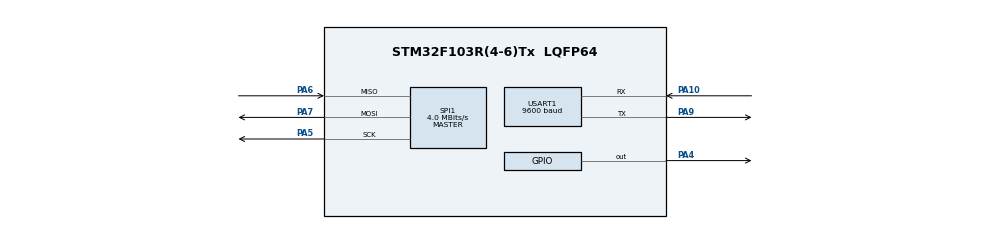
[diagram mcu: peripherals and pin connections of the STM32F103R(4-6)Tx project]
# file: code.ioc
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Mcu.Family=STM32F1
PA6.Mode=Full_Duplex_Master
Dma.USART1_TX.0.MemInc=DMA_MINC_ENABLE
PA7.Mode=Full_Duplex_Master
Dma.USART1_TX.0.PeriphInc=DMA_PINC_DISABLE
PA10.Mode=Asynchronous
SPI1.VirtualType=VM_MASTER
USART1.BaudRate=9600
USART1.WordLength=WORDLENGTH_9B
VP_SYS_VS_ND.Mode=No_Debug
ProjectManager.StackSize=0x400
PA9.Mode=Asynchronous
Dma.USART1_TX.0.Priority=DMA_PRIORITY_LOW
PA4.PinState=GPIO_PIN_RESET
Dma.USART1_TX.0.Direction=DMA_MEMORY_TO_PERIPH
ProjectManager.TargetToolchain=Makefile
SPI1.Direction=SPI_DIRECTION_2LINES
PA9.Signal=USART1_TX
SPI1.CalculateBaudRate=4.0 MBits/s
PA5.Signal=SPI1_SCK
PA4.GPIO_PuPd=GPIO_NOPULL
Dma.USART1_TX.0.Mode=DMA_NORMAL
board=custom
PA4.GPIO_Speed=GPIO_SPEED_FREQ_HIGH
NVIC.SPI1_IRQn=true\:0\:0\:false\:false\:true\:true\:true
RCC.APB2Freq_Value=8000000
SPI1.Mode=SPI_MODE_MASTER
Dma.USART1_TX.0.PeriphDataAlignment=DMA_PDATAALIGN_BYTE
Mcu.Name=STM32F103R(4-6)Tx
PA4.Signal=GPIO_Output
Mcu.Package=LQFP64
PA6.Signal=SPI1_MISO
USART1.VirtualMode=VM_ASYNC
Dma.USART1_TX.0.MemDataAlignment=DMA_MDATAALIGN_BYTE
PA10.Signal=USART1_RX
ProjectManager.HeapSize=0x200
Dma.USART1_TX.0.Instance=DMA1_Channel4
PA4.GPIO_ModeDefaultOutputPP=GPIO_MODE_OUTPUT_PP
NVIC.PriorityGroup=NVIC_PRIORITYGROUP_4
NVIC.DMA1_Channel4_IRQn=true\:0\:0\:false\:false\:true\:false\:true
NVIC.USART1_IRQn=true\:0\:0\:false\:false\:true\:true\:true
Dma.Request0=USART1_TX
RCC.APB1Freq_Value=8000000
SPI1.BaudRatePrescaler=SPI_BAUDRATEPRESCALER_2
PA5.Mode=Full_Duplex_Master
PA7.Signal=SPI1_MOSI

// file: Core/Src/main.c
/* USER CODE BEGIN Header */
/**
 ******************************************************************************
 * @file           : main.c
 * @brief          : Main program body
 ******************************************************************************
 * @attention
 *
 * <h2><center>&copy; Copyright (c) 2021 STMicroelectronics.
 * All rights reserved.</center></h2>
 *
 * This software component is licensed by ST under BSD 3-Clause license,
 * the "License"; You may not use this file except in compliance with the
 * License. You may obtain a copy of the License at:
 *                        opensource.org/licenses/BSD-3-Clause
 *
 ******************************************************************************
 */
/* USER CODE END Header */
#include "main.h"
#include "dma.h"
#include "spi.h"
#include "usart.h"
#include "gpio.h"

/* USER CODE BEGIN Includes */
#include <stdio.h>
#include <string.h>
/* USER CODE END Includes */

/* USER CODE BEGIN PV */
volatile uint8_t flag;
extern DMA_HandleTypeDef hdma_usart1_tx;

//Komande za komunikaciju sa mikrokontrolerom EEPROM uredjaja.
//Odgovarajuca dokumenacija u pdfu je dostupna u direktorijumu projekat/cubemx/code
const uint8_t WRITE = 0x02;
const uint8_t READ = 0x03;
const uint8_t WREN = 0x06;
const uint8_t RDSR = 0x05;
const uint8_t WRSR = 0x01;

void SystemClock_Config(void);

int main(void) {
	//private variables
	char spi_buff[20];
	char uart_buff[70];
	char init_data[60];
	uint8_t addr;
	uint8_t wip;
	uint8_t lenn;

	/* Reset of all peripherals, Initializes the Flash interface and the Systick. */
	HAL_Init();

	/* Configure the system clock */
	SystemClock_Config();

	/* Initialize all configured peripherals */
	MX_GPIO_Init();
	MX_DMA_Init();
	MX_SPI1_Init();
	MX_USART1_UART_Init();
	/* USER CODE BEGIN 2 */

	/* CS(Chip Select) signal sluzi da gazda na magistrali odabere sa kojim
	 * slugom ce komunicirati u slucaju da postoji vise sluga. Ovaj signal treba
	 * drzati na visokom naponskom nivou uvek, osim u slucaju kada se vrsi
	 * komunikacija sa odgovarajucim slugom sa kojim je gazda povezan putem ovog pina.
	 * U nasem primeru postoji samo jedan sluga na magistrali i to je EEPROM uredjaj,
	 * pa ce se signal CS(signal sa pina 4 porta A) svaki put prvo obarati
	 * na nizak naponski nivo, pre bilo kakve komunikacije, dok ce se na kraju
	 * komunikacije ovaj signal vracati na visok naponski nivo.
	 *
	 */

	//CS postavljen visoko
	HAL_GPIO_WritePin(GPIOA, GPIO_PIN_4, GPIO_PIN_SET);

	//Slanje write-enable komande (omogucava se upis podataka na uredjaj -
	// inicijalno uredjaj je u read only rezimu).
	HAL_GPIO_WritePin(GPIOA, GPIO_PIN_4, GPIO_PIN_RESET);
	HAL_SPI_Transmit(&hspi1, (uint8_t*) &WREN, sizeof(uint8_t), HAL_MAX_DELAY);
	HAL_GPIO_WritePin(GPIOA, GPIO_PIN_4, GPIO_PIN_SET);

	//Ocitavanje statusnog registra - saljemo odgovarajucu komandu nakon koje
	// primamo jedan bajt podataka koji predstavlja sadrzaj statusnog registra
	HAL_GPIO_WritePin(GPIOA, GPIO_PIN_4, GPIO_PIN_RESET);
	HAL_SPI_Transmit(&hspi1, (uint8_t*) &RDSR, sizeof(uint8_t), HAL_MAX_DELAY);
	HAL_SPI_Receive(&hspi1, (uint8_t*) spi_buff, sizeof(uint8_t),
	HAL_MAX_DELAY);
	HAL_GPIO_WritePin(GPIOA, GPIO_PIN_4, GPIO_PIN_SET);

	//fleg se postavlja pre prenosa podataka putem DMA kontrolera, a u prekidnoj
	// rutini se resetuje, nakon sto su svi podaci uspesno preneti na periferiju
	// Odgovarajuca prekidna rutina nalazi se u fajlu stm32f1xx_it.c
	flag = 1;
	lenn = sprintf((char*) uart_buff,
			"Statusni registar(Postavljen WEL bit): 0x%02x",
			(unsigned int) spi_buff[0]);
	huart1.Instance->CR3 |= USART_CR3_DMAT;
	HAL_DMA_Start_IT(&hdma_usart1_tx, (uint32_t) uart_buff,
			(uint32_t) &huart1.Instance->DR, lenn);

	//Podaci koje cemo upisati na uredjaj.
	spi_buff[0] = 'x';
	spi_buff[1] = 'y';
	spi_buff[2] = 'z';

	//Adresa na koju se upisuju podaci
	addr = 0x10;

	/*Upisivanje 3 bajta podataka pocev od zadate adrese. Prvo se salje WRITE komanda
	 koju sledi adresa na koju ce biti smesteni podaci (obratiti paznju na dokumentaciju
	 uredjaja, najvisi bit adrese zapisan je u okviru komande!(Pomocu ove WRITE komande
	 salju se adrese gde je najvise bit uvek fiksno 0!). Nakon adrese salju se redom podaci
	 do 16 bajtova podataka koji ce biti upisani u odgovarajucu stranicu memorije
	 (ako se dodje do kraja stranice, preostali podaci se upisuju pocev od prve adrese date stranice.
	 */
	HAL_GPIO_WritePin(GPIOA, GPIO_PIN_4, GPIO_PIN_RESET);
	HAL_SPI_Transmit(&hspi1, (uint8_t*) &WRITE, sizeof(uint8_t), HAL_MAX_DELAY);
	HAL_SPI_Transmit(&hspi1, (uint8_t*) &addr, sizeof(uint8_t), HAL_MAX_DELAY);
	HAL_SPI_Transmit(&hspi1, (uint8_t*) spi_buff, 3 * sizeof(uint8_t),
	HAL_MAX_DELAY);
	HAL_GPIO_WritePin(GPIOA, GPIO_PIN_4, GPIO_PIN_SET);

	//Ciscenje bafera da bismo u njega primili podatke
	spi_buff[0] = 0;
	spi_buff[1] = 0;
	spi_buff[2] = 0;

	//Uposleno cekanje da se zavrsi upis na uredjaju! U slucaju da se izostavi ova petlja
	// uredjaj bi nas obavestio o gresci pri citanju i vratio bi zateknute vrednosti.
	do {
		//Ocitavanje Statusnog registra
		HAL_GPIO_WritePin(GPIOA, GPIO_PIN_4, GPIO_PIN_RESET);
		HAL_SPI_Transmit(&hspi1, (uint8_t*) &RDSR, sizeof(uint8_t),
		HAL_MAX_DELAY);
		HAL_SPI_Receive(&hspi1, (uint8_t*) spi_buff, sizeof(uint8_t),
		HAL_MAX_DELAY);
		HAL_GPIO_WritePin(GPIOA, GPIO_PIN_4, GPIO_PIN_SET);

		//Maskiramo najnizi bit statusnog registra koji indikuje da li je trenutno upis
		// podataka u toku. Kada se upis zavrsi ovaj bit ce biti postavljen na 0.
		wip = spi_buff[0] & 0x01;
	} while (wip);

	// GRESKA U SIMULATORU! Da bismo procitali podatke koje smo upisali na adresu 0x10,
	// pri operaciji citanja moramo zadati za jedan nizu vrednost adrese.
	addr = 0x0F;

	//Citanje podataka sa uredjaja. Salje se READ komanda pracena adresom sa koje se
	//citaju podaci(adresa umanjena za 1!). Nakon koje se blokiramo dok ne primimo odgovarajuce podatke
	HAL_GPIO_WritePin(GPIOA, GPIO_PIN_4, GPIO_PIN_RESET);
	HAL_SPI_Transmit(&hspi1, (uint8_t*) &READ, sizeof(uint8_t), HAL_MAX_DELAY);
	HAL_SPI_Transmit(&hspi1, (uint8_t*) &addr, sizeof(uint8_t), HAL_MAX_DELAY);
	HAL_SPI_Receive(&hspi1, (uint8_t*) spi_buff, 3 * sizeof(uint8_t),
	HAL_MAX_DELAY);
	HAL_GPIO_WritePin(GPIOA, GPIO_PIN_4, GPIO_PIN_SET);

	//Cekamo dok se ne zavrsi prethodni prenos podataka putem DMA kontrolera,
	// pre nego sto zapocnemo novi. Fleg ce biti resetovan u prekidnoj rutini DMA kontrolera.
	while (flag) {
	}
	flag = 1;
	lenn = sprintf((char*) uart_buff, "\rUpisani podaci na uredjaj: %c%c%c\r",
			spi_buff[0], spi_buff[1], spi_buff[2]);
	huart1.Instance->CR3 |= USART_CR3_DMAT;
	HAL_DMA_Start_IT(&hdma_usart1_tx, (uint32_t) uart_buff,
			(uint32_t) &huart1.Instance->DR, lenn);

	//Ponovo cemo ocitati statusni registar nakon sto je izvrsena operacija upisa
	// WEL bit je resetovan(drugi najnizi bit) i uredjaj je vracen u read only mod.
	// Neophodno je ponovo poslati WREN komandu pre narednog upisa na uredjaj!
	HAL_GPIO_WritePin(GPIOA, GPIO_PIN_4, GPIO_PIN_RESET);
	HAL_SPI_Transmit(&hspi1, (uint8_t*) &RDSR, sizeof(uint8_t), HAL_MAX_DELAY);
	HAL_SPI_Receive(&hspi1, (uint8_t*) spi_buff, sizeof(uint8_t),
	HAL_MAX_DELAY);
	HAL_GPIO_WritePin(GPIOA, GPIO_PIN_4, GPIO_PIN_SET);

	//cekamo da se zavrsi prethodni upis pre nego sto mozemo zapoceti novi
	while (flag) {
	}
	flag = 1;
	lenn = sprintf((char*) uart_buff,
			"\rStatusni registar(Nakon upisa - resetovan WEL bit): 0x%02x ",
			(unsigned int) spi_buff[0]);
	huart1.Instance->CR3 |= USART_CR3_DMAT;
	HAL_DMA_Start_IT(&hdma_usart1_tx, (uint32_t) uart_buff,
			(uint32_t) &huart1.Instance->DR, lenn);

	while (flag) {
	}
	flag = 1;

	/* Dodatno, moguce je EEPROM uredjaj inicijalizovati odgovarajucim pocetnim vrednostima
	 * putem binarnog fajla. U direktorijumu projekat/proteus dat je fajl EEPROM_INIT.bin
	 * U ovom fajlu dovoljno je navesti ASCII vrednosti koje ce biti ucitane pocev od
	 * adrese 0x00 u memoriju uredjaja. Desnim klikom na uredjaj u simulatoru otvara se
	 * meni iz kojeg treba odabrati opciju Edit Properties. U polje polje Initial
	 * memory contents treba navesti putanju do binarnog fajla sa pocetnim sadrzajem memorije.
	 * (Moze se koristi opcija pretrazivanja klikom na slicicu foldera.)
	 *
	 * NAPOMENA (VAZNO!!!) : Obavezno nakon bilo koje promene ili ucitavanja inicijalizacionog
	 * fajla u Proteus simulatoru iz glavnog menija izabrati Debug->Reset Persistent Model Data
	 * da bi bilo koja promena kao i ucitavanje fajla bili vidljivi!
	 *
	 * U primeru ispod su procitani podaci koji su smesteni u ovom fajlu, s tim sto
	 * prvi karakter ne moze biti procitan usled greske kod operacije citanja koja je navedena ranije.
	 *
	 */

	spi_buff[0] = 0;
	spi_buff[1] = 0;
	spi_buff[2] = 0;

	addr = 0x00;

	HAL_GPIO_WritePin(GPIOA, GPIO_PIN_4, GPIO_PIN_RESET);
	HAL_SPI_Transmit(&hspi1, (uint8_t*) &READ, sizeof(uint8_t), HAL_MAX_DELAY);
	HAL_SPI_Transmit(&hspi1, (uint8_t*) &addr, sizeof(uint8_t), HAL_MAX_DELAY);
	HAL_SPI_Receive(&hspi1, (uint8_t*) spi_buff, 4 * sizeof(uint8_t),
	HAL_MAX_DELAY);
	HAL_GPIO_WritePin(GPIOA, GPIO_PIN_4, GPIO_PIN_SET);

	lenn = sprintf((char*) init_data,
			"\rProcitani inicijalni podaci sa uredjaja: %c%c%c%c\r",
			spi_buff[0], spi_buff[1], spi_buff[2], spi_buff[3]);
	huart1.Instance->CR3 |= USART_CR3_DMAT;
	HAL_DMA_Start_IT(&hdma_usart1_tx, (uint32_t) init_data,
			(uint32_t) &huart1.Instance->DR, lenn);

	/* USER CODE END 2 */

	/* Infinite loop */
	while (1) {

	}
}

void SystemClock_Config(void) {
	RCC_OscInitTypeDef RCC_OscInitStruct = { 0 };
	RCC_ClkInitTypeDef RCC_ClkInitStruct = { 0 };

	/** Initializes the RCC Oscillators according to the specified parameters
	 * in the RCC_OscInitTypeDef structure.
	 */
	RCC_OscInitStruct.OscillatorType = RCC_OSCILLATORTYPE_HSI;
	RCC_OscInitStruct.HSIState = RCC_HSI_ON;
	RCC_OscInitStruct.HSICalibrationValue = RCC_HSICALIBRATION_DEFAULT;
	RCC_OscInitStruct.PLL.PLLState = RCC_PLL_NONE;
	if (HAL_RCC_OscConfig(&RCC_OscInitStruct) != HAL_OK) {
		Error_Handler();
	}
	/** Initializes the CPU, AHB and APB buses clocks
	 */
	RCC_ClkInitStruct.ClockType = RCC_CLOCKTYPE_HCLK | RCC_CLOCKTYPE_SYSCLK
			| RCC_CLOCKTYPE_PCLK1 | RCC_CLOCKTYPE_PCLK2;
	RCC_ClkInitStruct.SYSCLKSource = RCC_SYSCLKSOURCE_HSI;
	RCC_ClkInitStruct.AHBCLKDivider = RCC_SYSCLK_DIV1;
	RCC_ClkInitStruct.APB1CLKDivider = RCC_HCLK_DIV1;
	RCC_ClkInitStruct.APB2CLKDivider = RCC_HCLK_DIV1;

	if (HAL_RCC_ClockConfig(&RCC_ClkInitStruct, FLASH_LATENCY_0) != HAL_OK) {
		Error_Handler();
	}
}

/* USER CODE BEGIN 4 */
void HAL_UART_TxCpltCallback(UART_HandleTypeDef *huart) {

}
/* USER CODE END 4 */

void Error_Handler(void) {
	__disable_irq();
	while (1) {
	}
}

/************************ (C) COPYRIGHT STMicroelectronics *****END OF FILE****/
